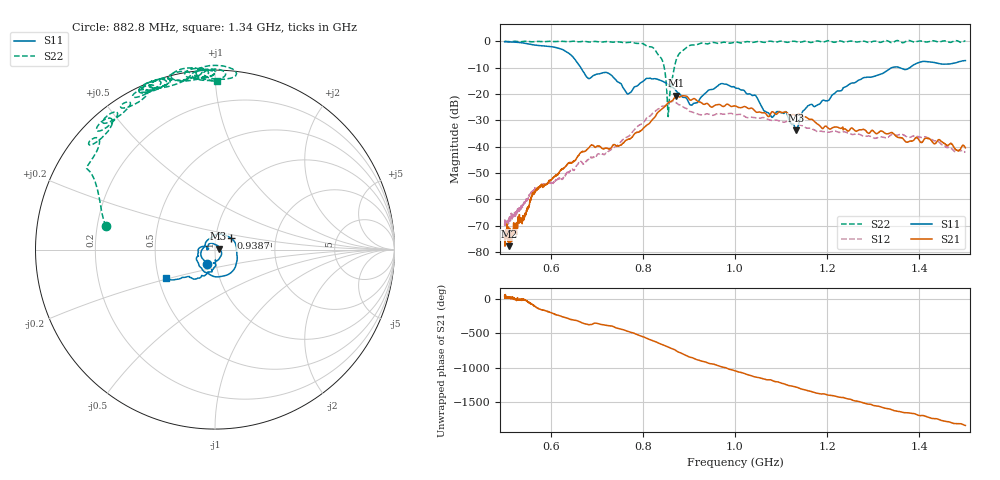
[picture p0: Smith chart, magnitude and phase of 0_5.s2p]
!Agilent Technologies,E8364B,US42250235,A.06.04.32
!Agilent E8364B: A.06.04.32
!Date: Thursday, October 01, 2020 15:41:46
!Correction: S11(Full 2 Port(1,2)) S21(Full 2 Port(1,2)) S12(Full 2 Port(1,2)) S22(Full 2 Port(1,2))
!S2P File: Measurements: S11, S21, S12, S22:
# Hz S  dB  R 50
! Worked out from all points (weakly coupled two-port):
!   2650 points, 500 MHz to 1.5 GHz, reference 50 ohm
!   highest |S21| = -20.64 dB at 873 MHz (marker M1); lowest = -77.8 dB at 509.4 MHz (marker M2)
!   lowest |S11| = -33.7 dB at 1.133 GHz (marker M3), VSWR 1.04, Z = 52 + j0.529 ohm
!   |S11| at or under -10 dB: 665.2 MHz to 1.341 GHz (675.6 MHz wide, 67.4 % of centre); 1.357 GHz to 1.38 GHz (23.21 MHz wide, 1.7 % of centre)
!   |S22| runs from -28.6 to 0.3 dB; largest |S21 - S12| = 0.082
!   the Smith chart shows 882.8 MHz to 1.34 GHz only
!   S11 on the Smith chart (normalised r, x): 882.8 MHz: 0.90, -0.15; 938.7 MHz: 1.19, +0.15; 1.34 GHz: 0.55, -0.19
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5e8  -0.20 -175.1  -73.35 45.0  -69.78 162.2  -0.02 143.7
5.094375e8  -0.25 179.6  -77.81 23.5  -68.24 128.8  -0.17 141.9
5.653077e8  -1.47 145.7  -57.39 -102.1  -56.59 -2.1  -0.12 130.2
6.106078e8  -2.38 113.0  -51.11 134.7  -52.82 -110.9  -0.15 128.6
6.668554e8  -10.49 60.3  -42.07 18.1  -45.75 105.1  -0.12 123.4
7.257456e8  -12.21 64.3  -40.89 -27.6  -41.78 -43.3  -0.18 115.6
7.680257e8  -20.07 59.6  -37.22 -111.0  -36.23 -153.6  -0.45 103.1
7.959607e8  -15.70 61.6  -33.95 -176.5  -31.54 137.8  -0.78 96.9
8.337108e8  -14.59 -3.5  -26.84 80.8  -25.72 35.4  -5.24 60.0
8.446584e8  -15.33 -23.6  -25.27 50.8  -24.66 1.6  -8.58 46.8
8.559834e8  -16.59 -47.7  -23.24 19.8  -23.33 -30.8  -26.17 -83.9
8.729709e8  -18.99 -89.3  -20.64 -33.9  -23.43 -91.2  -6.83 177.5
8.82786e8  -20.53 -118.7  -20.93 -64.5  -24.33 -118.7  -4.12 168.0
9.058135e8  -24.28 155.1  -22.25 -129.1  -26.79 -169.1  -1.44 147.6
9.386561e8  -19.24 35.3  -23.59 158.0  -27.57 134.5  -1.05 135.3
1.000189e9  -17.64 -122.2  -24.56 35.4  -27.88 14.4  -0.37 121.0
1.132692e9  -33.75 14.3  -28.07 159.8  -31.55 136.9  -0.15 111.9
1.166667e9  -23.97 -83.8  -29.66 92.8  -33.21 73.5  -0.47 102.8
1.321065e9  -12.19 -139.9  -34.33 -140.0  -36.45 -159.7  -0.13 83.1
1.333522e9  -10.75 -144.3  -35.04 -155.4  -36.30 -174.4  -0.04 96.1
1.339562e9  -10.08 -150.0  -34.69 -167.7  -35.42 173.3  -0.56 89.4
1.5e9  -7.35 143.6  -40.48 -37.7  -42.12 -78.4  0.17 70.0
